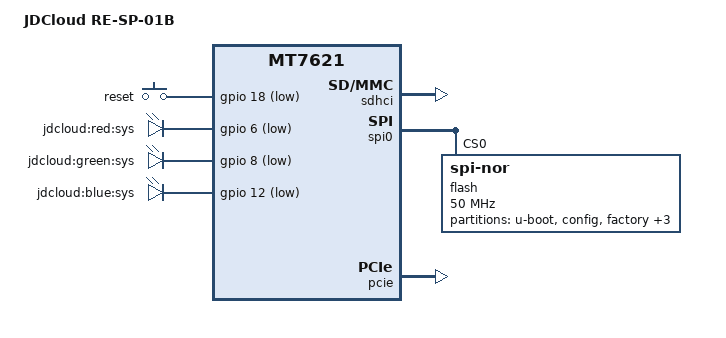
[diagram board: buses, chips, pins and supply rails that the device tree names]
// SPDX-License-Identifier: GPL-2.0-or-later OR MIT
/dts-v1/;

#include "mt7621.dtsi"

#include <dt-bindings/gpio/gpio.h>
#include <dt-bindings/input/input.h>

/ {
	compatible = "jdcloud,re-sp-01b", "mediatek,mt7621-soc";
	model = "JDCloud RE-SP-01B";

	aliases {
		led-boot = &led_red;
		led-failsafe = &led_red;
		led-running = &led_green;
		led-upgrade = &led_blue;
		label-mac-device = &gmac0;
	};

	chosen {
		bootargs = "console=ttyS0,115200";
	};

	keys {
		compatible = "gpio-keys";

		reset {
			label = "reset";
			gpios = <&gpio 18 GPIO_ACTIVE_LOW>;
			linux,code = <KEY_RESTART>;
		};
	};

	leds {
		compatible = "gpio-leds";

		led_red: red {
			label = "jdcloud:red:sys";
			gpios = <&gpio 6 GPIO_ACTIVE_LOW>;
			panic-indicator;
		};

		led_green: green {
			label = "jdcloud:green:sys";
			gpios = <&gpio 8 GPIO_ACTIVE_LOW>;
		};

		led_blue: blue {
			label = "jdcloud:blue:sys";
			gpios = <&gpio 12 GPIO_ACTIVE_LOW>;
		};
	};
};

&sdhci {
	status = "okay";
};

&spi0 {
	status = "okay";

	flash@0 {
		compatible = "jedec,spi-nor";
		reg = <0>;
		spi-max-frequency = <50000000>;

		partitions {
			compatible = "fixed-partitions";
			#address-cells = <1>;
			#size-cells = <1>;

			partition@0 {
				label = "u-boot";
				reg = <0x0 0x30000>;
				read-only;
			};

			config: partition@30000 {
				label = "config";
				reg = <0x30000 0x10000>;
				read-only;
			};

			factory: partition@40000 {
				label = "factory";
				reg = <0x40000 0x10000>;
				read-only;
			};

			partition@50000 {
				compatible = "denx,uimage";
				label = "firmware";
				reg = <0x50000 0x1ab0000>;
			};

			partition@1b00000 {
				label = "mini";
				reg = <0x1b00000 0x400000>;
				read-only;
			};

			partition@1f00000 {
				label = "oem";
				reg = <0x1f00000 0x100000>;
				read-only;
			};
		};
	};
};

&gmac0 {
	mtd-mac-address-ascii = <&config 0x4429>;
};

&switch0 {
	ports {
		port@0 {
			status = "okay";
			label = "wan";
		};

		port@1 {
			status = "okay";
			label = "lan1";
		};

		port@2 {
			status = "okay";
			label = "lan2";
		};
	};
};

&pcie {
	status = "okay";
};

&pcie0 {
	wifi@0,0 {
		reg = <0x0000 0 0 0 0>;
		mtd-mac-address-ascii = <&config 0x4429>;
		mediatek,mtd-eeprom = <&factory 0x0>;
	};
};

&pcie1 {
	wifi@0,0 {
		reg = <0x0000 0 0 0 0>;
		mtd-mac-address-ascii = <&config 0x4429>;
		mtd-mac-address-increment = <0x80>;
		mtd-mac-address-increment-byte = <3>;
		mediatek,mtd-eeprom = <&factory 0x8000>;
		ieee80211-freq-limit = <5000000 6000000>;
	};
};

&state_default {
	gpio {
		groups = "uart2", "uart3", "wdt";
		function = "gpio";
	};
};
